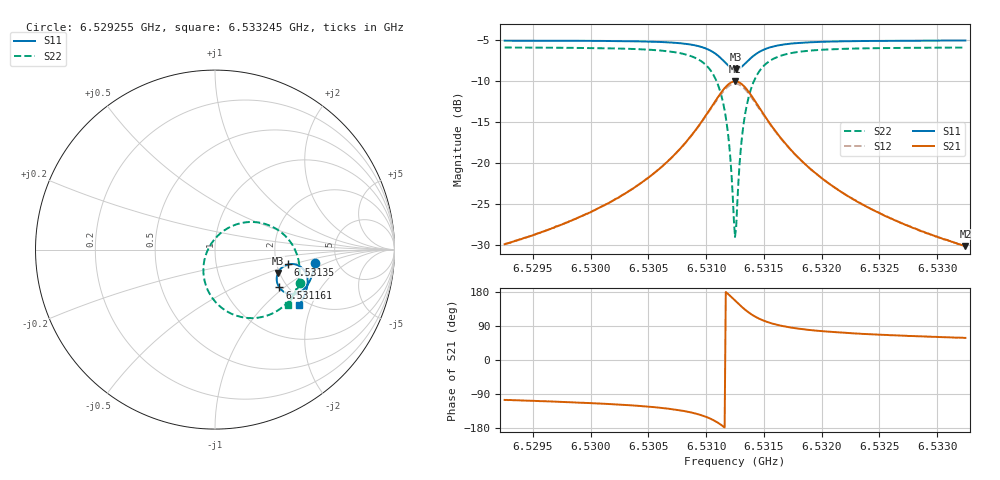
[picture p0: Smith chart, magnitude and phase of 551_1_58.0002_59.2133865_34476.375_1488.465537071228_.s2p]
#  HZ  S  RI  R  50.00
! Rohde & Schwarz Vector Network Analyzer
! Rohde-Schwarz,ZNB20-2Port,1311601062101988,3.16
! Created: UTC 3/21/2024, 1:15:00 AM
! freq[Hz]  re:S11  im:S11  re:S21  im:S21  re:S12  im:S12  re:S22  im:S22
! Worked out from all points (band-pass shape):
!   401 points, 6.529255 GHz to 6.533245 GHz, reference 50 ohm
!   highest |S21| = -9.99 dB at 6.53125 GHz (marker M1); lowest = -30.1 dB at 6.533245 GHz (marker M2)
!   |S21| within 3 dB of the highest: 6.531053 GHz to 6.531451 GHz (398.1 kHz wide, 0.00609 % of centre)
!   lowest |S11| = -8.5 dB at 6.53126 GHz (marker M3), VSWR 2.19, Z = 98.1 - j29.6 ohm
!   |S11| at or under -10 dB: nowhere
!   |S22| runs from -29.0 to -5.9 dB; largest |S21 - S12| = 0.013
!   S11 on the Smith chart (normalised r, x): 6.529255 GHz: 3.37, -0.76; 6.531161 GHz: 1.81, -0.93; 6.53135 GHz: 2.30, -0.46; 6.533245 GHz: 1.82, -1.64
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6.5292554e9  0.5554 -0.077  -0.00844 -0.0309  -0.00916 -0.0307  0.4745 -0.1854
6.5299237e9  0.5436 -0.1329  -0.0185 -0.0438  -0.0195 -0.0434  0.4418 -0.2471
6.5302529e9  0.5331 -0.1633  -0.0292 -0.0551  -0.0306 -0.0546  0.4131 -0.2848
6.530592e9  0.5134 -0.1998  -0.0537 -0.0746  -0.056 -0.0731  0.3573 -0.3342
6.5308214e9  0.4852 -0.229  -0.0949 -0.0938  -0.0977 -0.0905  0.2743 -0.3725
6.530991e9  0.4401 -0.2471  -0.1651 -0.0989  -0.1671 -0.0921  0.1457 -0.3754
6.5310908e9  0.394 -0.2404  -0.236 -0.0703  -0.2348 -0.0605  0.027 -0.3158
6.5311606e9  0.3586 -0.211  -0.2876 -0.00915  -0.2812 0.000859  -0.0492 -0.2043
6.5312005e9  0.3458 -0.1818  -0.303 0.0456  -0.2933 0.0536  -0.0647 -0.1112
6.5312304e9  0.3441 -0.1558  -0.3007 0.0923  -0.2895 0.0975  -0.0531 -0.0352
6.5312404e9  0.3453 -0.1469  -0.2969 0.1079  -0.2854 0.1122  -0.044 -0.0105
6.5312503e9  0.3477 -0.1383  -0.2915 0.1231  -0.2799 0.1262  -0.0328 0.0134
6.5312603e9  0.3507 -0.1298  -0.2847 0.1377  -0.2731 0.1398  -0.019 0.0359
6.5313102e9  0.3777 -0.0962  -0.2326 0.1954  -0.2232 0.1933  0.0753 0.1215
6.5313501e9  0.4061 -0.0827  -0.1817 0.2185  -0.1748 0.2147  0.163 0.1509
6.5314199e9  0.4508 -0.0833  -0.1037 0.2187  -0.1003 0.2154  0.2933 0.1381
6.5315197e9  0.4895 -0.1068  -0.0374 0.1852  -0.0359 0.1835  0.4004 0.0669
6.5316693e9  0.5112 -0.1441  0.00203 0.1362  0.00298 0.1356  0.4579 -0.0313
6.5319187e9  0.5158 -0.1881  0.018 0.0887  0.019 0.0882  0.4712 -0.131
6.5322279e9  0.5089 -0.2253  0.0202 0.0596  0.0212 0.0594  0.46 -0.1984
6.532587e9  0.4967 -0.2585  0.0192 0.0422  0.0199 0.042  0.4412 -0.2472
6.5332453e9  0.4707 -0.308  0.0164 0.0265  0.0168 0.0262  0.4067 -0.3062
